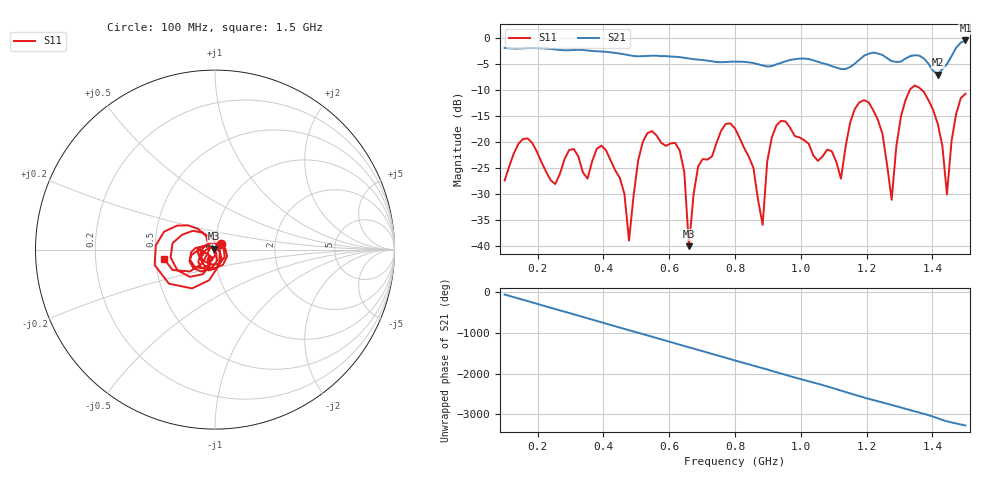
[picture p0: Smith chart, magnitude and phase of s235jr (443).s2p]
! NanoVNA-App
! Date: 2025-09-25 15:07:36
! Start: 100MHz Stop: 1,5GHz Points: 101
! S-Parameter data: F S11 S21 S12 S22
# Hz S RI R 50
!  Frequency  S11_Real  S11_Imag  S21_Real  S21_Imag  S12_Real  S12_Imag  S22_Real  S22_Imag
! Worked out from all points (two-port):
!   101 points, 100 MHz to 1.5 GHz, reference 50 ohm
!   highest |S21| = -0.53 dB at 1.5 GHz (marker M1); lowest = -7.1 dB at 1.416 GHz (marker M2)
!   |S21| within 3 dB of the highest: start of sweep to 495.4 MHz; 1.191 GHz to 1.253 GHz (61.99 MHz wide, 5.07 % of centre) (the widest 2 of 5)
!   lowest |S11| = -40.1 dB at 660 MHz (marker M3), VSWR 1.02, Z = 49.2 + j0.552 ohm
!   |S11| at or under -10 dB: start of sweep to 1.331 GHz; 1.367 GHz to end of sweep
!   S12 and S22 are empty: the file has one direction only
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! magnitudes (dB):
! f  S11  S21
! 100 MHz  -27.5  -2.0
! 170 MHz  -19.4  -2.0
! 338 MHz  -25.9  -2.4
! 408 MHz  -21.6  -2.7
! 478 MHz  -39.0  -3.4
! 520 MHz  -20.0  -3.5
! 576 MHz  -20.2  -3.5
! 632 MHz  -21.7  -3.7
! 660 MHz  -40.1  -4.0
! 688 MHz  -24.8  -4.2
! 800 MHz  -17.4  -4.6
! 884 MHz  -36.0  -5.3
! 926 MHz  -16.9  -5.1
! 1.038 GHz  -22.7  -4.3
! 1.122 GHz  -27.1  -6.0
! 1.164 GHz  -13.7  -5.0
! 1.206 GHz  -12.4  -3.1
! 1.276 GHz  -31.2  -4.5
! 1.332 GHz  -9.9  -3.5
! 1.416 GHz  -16.6  -7.1
! 1.444 GHz  -30.1  -5.1
! 1.5 GHz  -10.8  -0.5
